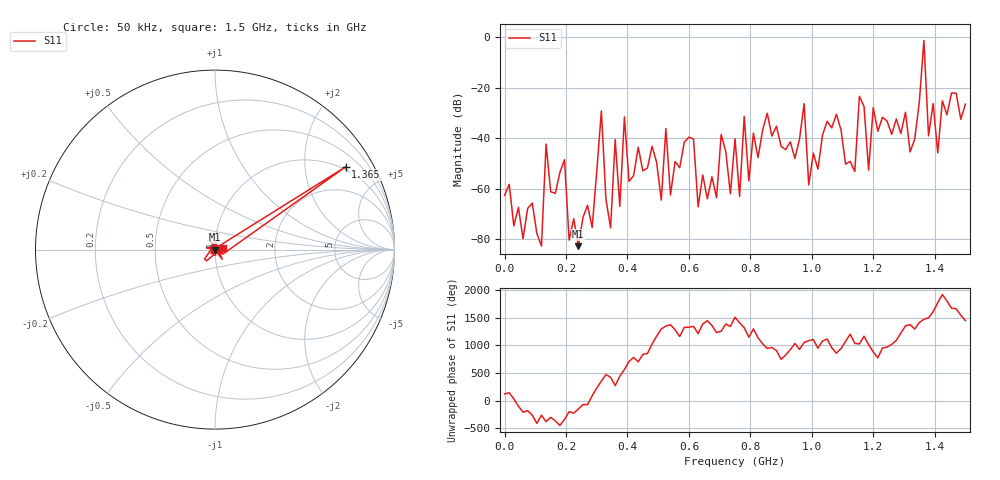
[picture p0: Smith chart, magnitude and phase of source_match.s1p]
! Created with skrf 1.8.0 (http://scikit-rf.org).
# Hz S RI R 50.0
!freq ReS11 ImS11
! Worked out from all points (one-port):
!   101 points, 50 kHz to 1.5 GHz, reference 50 ohm
!   lowest |S11| = -82.8 dB at 240 MHz (marker M1), VSWR 1.00, Z = 50 - j0.00364 ohm
!   |S11| at or under -10 dB: start of sweep to 1.36 GHz; 1.368 GHz to end of sweep
!   S11 on the Smith chart (normalised r, x): 50 kHz: 1.00, +0.00; 1.365 GHz: 0.90, +3.22; 1.5 GHz: 1.10, +0.02
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50000  -0.000393 0.000617
1.20046e8  -1.06e-05 7.17e-05
1.350455e8  0.00717 -0.00258
1.950435e8  0.0035 0.00131
2.40042e8  -6.22e-05 -3.64e-05
2.850405e8  4.3e-06 0.000169
3.150395e8  0.0344 -0.0022
3.450385e8  7.25e-05 0.000149
3.60038e8  0.00062 -0.00927
3.750375e8  6.47e-05 0.000439
3.90037e8  -0.0241 -0.0105
4.050365e8  0.00135 -0.000283
5.70031e8  0.000393 0.00256
7.50025e8  0.00331 0.00914
7.650245e8  0.000593 -0.000373
7.80024e8  -0.0135 -0.0233
7.950235e8  0.000517 0.00132
8.550215e8  -0.0222 -0.0219
9.450185e8  0.00281 -0.00279
1.125012e9  -0.00188 0.00289
1.155012e9  0.04 -0.054
1.18501e9  0.000923 -0.00213
1.20001e9  -0.0384 0.0117
1.320006e9  0.00234 -0.0048
1.365004e9  0.7276 0.4609
1.380004e9  0.00564 0.00953
1.410003e9  0.00448 -0.00236
1.5e9  0.0464 0.00739
